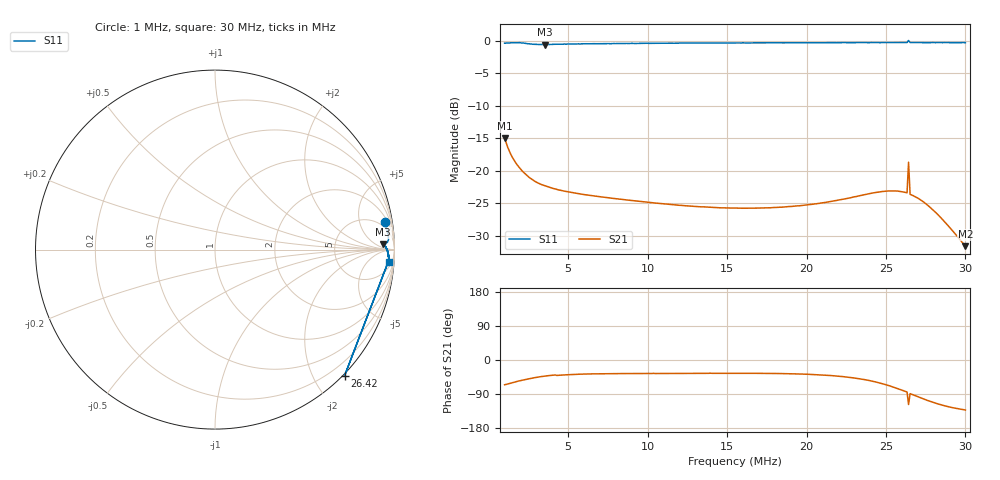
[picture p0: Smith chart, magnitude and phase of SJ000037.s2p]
!File created by NanoVNA-F V2
# Hz S RI R 50
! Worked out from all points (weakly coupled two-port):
!   301 points, 1 MHz to 30 MHz, reference 50 ohm
!   highest |S21| = -14.96 dB at 1 MHz (marker M1); lowest = -31.6 dB at 30 MHz (marker M2)
!   lowest |S11| = -0.6 dB at 3.513 MHz (marker M3), VSWR 30.44, Z = 1.25e+03 + j586 ohm
!   |S11| at or under -10 dB: nowhere
!   S12 and S22 are empty: the file has one direction only
!   S11 on the Smith chart (normalised r, x): 1 MHz: 3, +12; 26.42 MHz: -0.03, -2.46; 30 MHz: 10, -24
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1000000  0.948 0.1521  0.0744 -0.1624  0 0  0 0
1193332  0.9555 0.1264  0.0682 -0.1361  0 0  0 0
1386664  0.9599 0.1034  0.0649 -0.1175  0 0  0 0
1966660  0.9668 0.0545  0.0605 -0.0853  0 0  0 0
2449990  0.9504 0.0294  0.0582 -0.07  0 0  0 0
2739988  0.9421 0.0257  0.0575 -0.0636  0 0  0 0
3513316  0.9359 0.0289  0.0566 -0.052  0 0  0 0
4383310  0.9416 0.0278  0.0543 -0.0464  0 0  0 0
5833300  0.9482 0.0203  0.0526 -0.0403  0 0  0 0
1.06666e7  0.9594 -0.00167  0.0458 -0.0328  0 0  0 0
1.337325e7  0.9615 -0.0108  0.0432 -0.0305  0 0  0 0
1.54999e7  0.9649 -0.0194  0.0424 -0.0298  0 0  0 0
1.772322e7  0.9649 -0.0277  0.0424 -0.0302  0 0  0 0
2.03332e7  0.9668 -0.0368  0.0435 -0.0342  0 0  0 0
2.342651e7  0.9677 -0.0481  0.0416 -0.0497  0 0  0 0
2.51665e7  0.9698 -0.0539  0.0269 -0.0648  0 0  0 0
2.632649e7  0.9692 -0.0584  0.00661 -0.0675  0 0  0 0
2.642316e7  0.7222 -0.7021  -0.0538 -0.1034  0 0  0 0
2.651982e7  0.9684 -0.0585  0.00143 -0.066  0 0  0 0
2.729315e7  0.9679 -0.0613  -0.0117 -0.0574  0 0  0 0
2.816315e7  0.9677 -0.0647  -0.0197 -0.0433  0 0  0 0
2.99998e7  0.9671 -0.069  -0.0176 -0.0196  0 0  0 0
